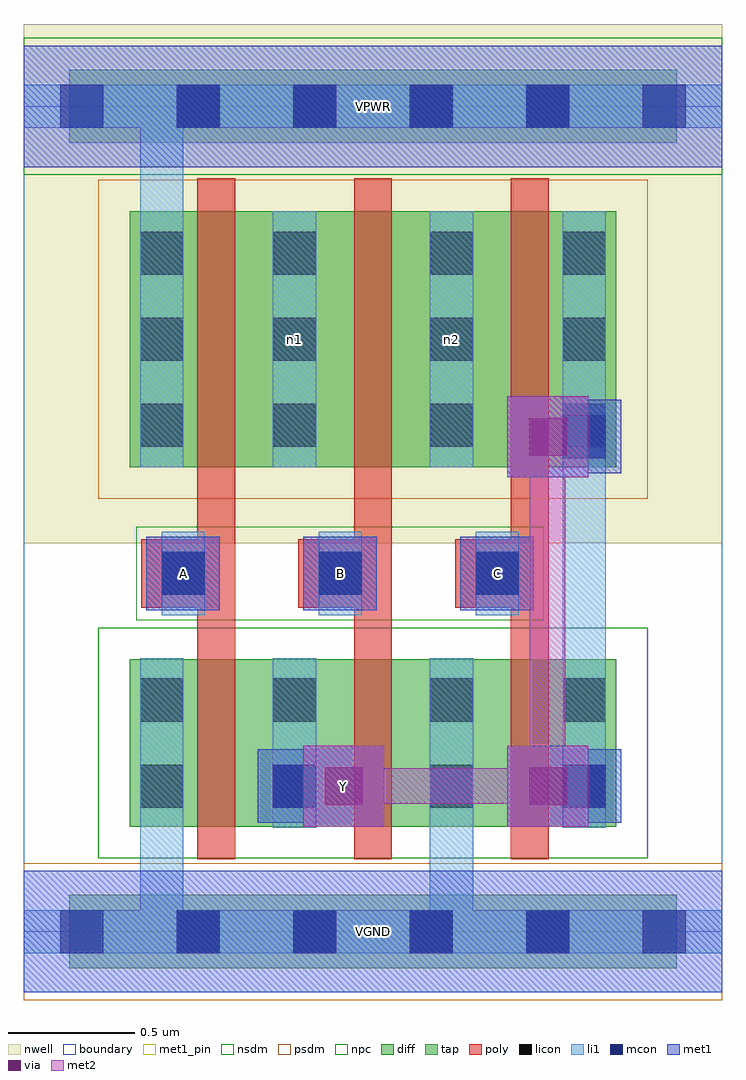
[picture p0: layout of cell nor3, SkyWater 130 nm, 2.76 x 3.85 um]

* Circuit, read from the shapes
.subckt nor3 A B C VGND VPWR Y n1 n2
XM1 Y A VGND VGND sky130_fd_pr__nfet_01v8 w=0.66 l=0.15
XM2 VGND B Y VGND sky130_fd_pr__nfet_01v8 w=0.66 l=0.15
XM3 Y C VGND VGND sky130_fd_pr__nfet_01v8 w=0.66 l=0.15
XM4 n1 A VPWR VPWR sky130_fd_pr__pfet_01v8 w=1.01 l=0.15
XM5 n2 B n1 VPWR sky130_fd_pr__pfet_01v8 w=1.01 l=0.15
XM6 Y C n2 VPWR sky130_fd_pr__pfet_01v8 w=1.01 l=0.15
.ends

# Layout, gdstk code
import gdstk
lib = gdstk.Library(unit=1e-6, precision=1e-09)
def R(c, l, rs):  # rectangles x0, y0, x1, y1
    for r in rs: c.add(gdstk.rectangle(r[:2], r[2:], *l))
def A(c, l, x, y, w, h, nx, ny, dx, dy):  # array of equal rectangles
    R(c, l, [(x+i*dx, y+j*dy, x+i*dx+w, y+j*dy+h) for i in range(nx) for j in range(ny)])
nwell = (64, 20)
diff = (65, 20)
tap = (65, 44)
poly = (66, 20)
licon = (66, 44)
li1 = (67, 20)
mcon = (67, 44)
met1_pin = (68, 16)
met1 = (68, 20)
via = (68, 44)
met2 = (69, 20)
nsdm = (93, 44)
psdm = (94, 20)
npc = (95, 20)
boundary = (235, 4)

nor3 = lib.new_cell('nor3')
R(nor3, nwell, [(0,1.535,2.76,3.585)])
R(nor3, diff, [(0.42,0.415,2.34,1.075), (0.42,1.835,2.34,2.845)])
R(nor3, tap, [(0.18,-0.145,2.58,0.145), (0.18,3.115,2.58,3.405)])
A(nor3, poly, 0.685, 0.285, 0.15, 2.69, 3, 1, 0.62, 0)
A(nor3, poly, 0.465, 1.28, 0.33, 0.27, 3, 1, 0.62, 0)
A(nor3, licon, 0.605, -0.085, 0.17, 0.17, 4, 2, 0.46, 3.26)
A(nor3, licon, 0.545, 1.33, 0.17, 0.17, 3, 1, 0.62, 0)
A(nor3, licon, 0.46, 1.915, 0.17, 0.17, 1, 3, 0, 0.34)
A(nor3, licon, 0.985, 1.915, 0.17, 0.17, 1, 3, 0, 0.34)
A(nor3, licon, 1.605, 1.915, 0.17, 0.17, 1, 3, 0, 0.34)
A(nor3, licon, 2.13, 1.915, 0.17, 0.17, 1, 3, 0, 0.34)
R(nor3, licon, [(0.46,0.49,0.63,0.66), (0.985,0.49,1.155,0.66), (1.605,0.49,1.775,0.66), (2.13,0.49,2.3,0.66), (0.46,0.83,0.63,1), (0.985,0.83,1.155,1), (1.605,0.83,1.775,1), (2.13,0.83,2.3,1)])
A(nor3, li1, 0.545, 1.25, 0.17, 0.33, 3, 1, 0.62, 0)
R(nor3, li1, [(0,-0.085,2.76,0.085), (0.46,-0.085,0.63,1.08), (1.605,-0.085,1.775,1.08), (0.46,0.41,0.63,1.08), (0.985,0.41,1.155,1.08), (1.605,0.41,1.775,1.08), (2.13,0.41,2.3,1.08), (2.13,0.41,2.3,2.845), (0.46,1.835,0.63,2.845), (0.46,1.835,0.63,3.345), (0.985,1.835,1.155,2.845), (1.605,1.835,1.775,2.845), (2.13,1.835,2.3,2.845), (0,3.175,2.76,3.345)])
A(nor3, mcon, 0.145, -0.085, 0.17, 0.17, 6, 2, 0.46, 3.26)
A(nor3, mcon, 0.545, 1.33, 0.17, 0.17, 3, 1, 0.62, 0)
R(nor3, mcon, [(0.985,0.49,1.155,0.66), (2.13,0.49,2.3,0.66), (2.13,1.87,2.3,2.04)])
A(nor3, met1_pin, 0.485, 1.27, 0.29, 0.29, 3, 1, 0.62, 0)
R(nor3, met1_pin, [(0,-0.24,2.76,0.24), (1.105,0.415,1.425,0.735), (0,3.02,2.76,3.5)])
A(nor3, met1, 0.485, 1.27, 0.29, 0.29, 3, 1, 0.62, 0)
R(nor3, met1, [(0,-0.24,2.76,0.24), (1.105,0.415,1.425,0.735), (1.91,0.415,2.23,0.735), (0.925,0.43,1.215,0.72), (2.07,0.43,2.36,0.72), (1,0.505,1.335,0.645), (2,0.505,2.285,0.645), (1.91,1.795,2.23,2.115), (2.07,1.81,2.36,2.1), (2,1.885,2.285,2.025), (0,3.02,2.76,3.5)])
R(nor3, via, [(1.19,0.5,1.34,0.65), (1.995,0.5,2.145,0.65), (1.995,1.88,2.145,2.03)])
R(nor3, met2, [(1.105,0.415,1.425,0.735), (1.91,0.415,2.23,0.735), (1.195,0.505,2.14,0.645), (2,0.505,2.14,2.025), (1.91,1.795,2.23,2.115)])
R(nor3, nsdm, [(0.295,0.29,2.465,1.2), (0,2.99,2.76,3.53)])
R(nor3, psdm, [(0,-0.27,2.76,0.27), (0.295,1.71,2.465,2.97)])
R(nor3, npc, [(0.445,1.23,2.055,1.6)])
R(nor3, boundary, [(0,0,2.76,3.26)])
nor3.add(gdstk.Label('n1', (1.07,2.34), layer=67, texttype=5))
nor3.add(gdstk.Label('n2', (1.69,2.34), layer=67, texttype=5))
nor3.add(gdstk.Label('A', (0.63,1.415), layer=68, texttype=5))
nor3.add(gdstk.Label('B', (1.25,1.415), layer=68, texttype=5))
nor3.add(gdstk.Label('C', (1.87,1.415), layer=68, texttype=5))
nor3.add(gdstk.Label('Y', (1.265,0.575), layer=68, texttype=5))
nor3.add(gdstk.Label('VPWR', (1.38,3.26), layer=68, texttype=5))
nor3.add(gdstk.Label('VGND', (1.38,0), layer=68, texttype=5))
nor3.add(gdstk.Label('A', (0.63,1.415), layer=68, texttype=16))
nor3.add(gdstk.Label('B', (1.25,1.415), layer=68, texttype=16))
nor3.add(gdstk.Label('C', (1.87,1.415), layer=68, texttype=16))
nor3.add(gdstk.Label('Y', (1.265,0.575), layer=68, texttype=16))
nor3.add(gdstk.Label('VPWR', (1.38,3.26), layer=68, texttype=16))
nor3.add(gdstk.Label('VGND', (1.38,0), layer=68, texttype=16))

lib.write_gds('nor3.gds')
